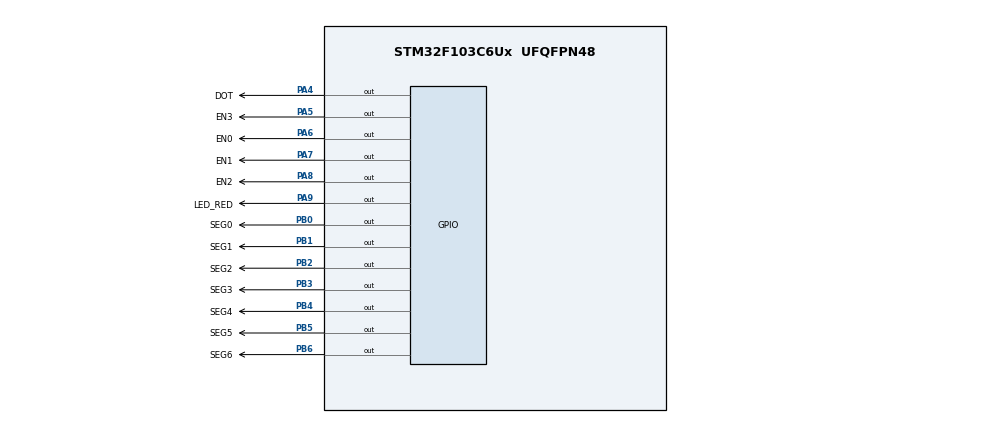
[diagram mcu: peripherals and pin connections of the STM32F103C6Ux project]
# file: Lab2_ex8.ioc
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Mcu.Family=STM32F1
Mcu.Name=STM32F103C6Ux
Mcu.Package=UFQFPN48
NVIC.PriorityGroup=NVIC_PRIORITYGROUP_4
NVIC.TIM2_IRQn=true\:0\:0\:false\:false\:true\:true\:true
PA4.GPIO_Label=DOT
PA4.Signal=GPIO_Output
PA5.GPIO_Label=EN3
PA5.Signal=GPIO_Output
PA6.GPIO_Label=EN0
PA6.Signal=GPIO_Output
PA7.GPIO_Label=EN1
PA7.Signal=GPIO_Output
PA8.GPIO_Label=EN2
PA8.Signal=GPIO_Output
PA9.GPIO_Label=LED_RED
PA9.Signal=GPIO_Output
PB0.GPIO_Label=SEG0
PB0.Signal=GPIO_Output
PB1.GPIO_Label=SEG1
PB1.Signal=GPIO_Output
PB2.GPIO_Label=SEG2
PB2.Signal=GPIO_Output
PB3.GPIO_Label=SEG3
PB3.Signal=GPIO_Output
PB4.GPIO_Label=SEG4
PB4.Signal=GPIO_Output
PB5.GPIO_Label=SEG5
PB5.Signal=GPIO_Output
PB6.GPIO_Label=SEG6
PB6.Signal=GPIO_Output
ProjectManager.HeapSize=0x200
ProjectManager.StackSize=0x400
ProjectManager.TargetToolchain=STM32CubeIDE
RCC.APB1Freq_Value=8000000
RCC.APB2Freq_Value=8000000
TIM2.Period=9
TIM2.Prescaler=7999
VP_SYS_VS_ND.Mode=No_Debug
VP_TIM2_VS_ClockSourceINT.Mode=Internal
board=custom

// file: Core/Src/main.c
/* USER CODE BEGIN Header */
/**
  ******************************************************************************
  * @file           : main.c
  * @brief          : Main program body
  ******************************************************************************
  * @attention
  *
  * <h2><center>&copy; Copyright (c) 2023 STMicroelectronics.
  * All rights reserved.</center></h2>
  *
  * This software component is licensed by ST under BSD 3-Clause license,
  * the "License"; You may not use this file except in compliance with the
  * License. You may obtain a copy of the License at:
  *                        opensource.org/licenses/BSD-3-Clause
  *
  ******************************************************************************
  */
/* USER CODE END Header */
#include "main.h"

TIM_HandleTypeDef htim2;

void SystemClock_Config(void);
static void MX_GPIO_Init(void);
static void MX_TIM2_Init(void);

/* USER CODE BEGIN 0 */
enum LED_ENABLE_STATE {
	LED_0_EN = 0,
	LED_1_EN = 1,
	LED_2_EN = 2,
	LED_3_EN = 3
};
enum LED_ENABLE_STATE curLedState = LED_0_EN;
void display7SEG(int num) {
	switch(num) {
		case 0:
			HAL_GPIO_WritePin(SEG0_GPIO_Port, SEG0_Pin, 0);
			HAL_GPIO_WritePin(SEG1_GPIO_Port, SEG1_Pin, 0);
			HAL_GPIO_WritePin(SEG2_GPIO_Port, SEG2_Pin, 0);
			HAL_GPIO_WritePin(SEG3_GPIO_Port, SEG3_Pin, 0);
			HAL_GPIO_WritePin(SEG4_GPIO_Port, SEG4_Pin, 0);
			HAL_GPIO_WritePin(SEG5_GPIO_Port, SEG5_Pin, 0);
			HAL_GPIO_WritePin(SEG6_GPIO_Port, SEG6_Pin, 1);
			break;
		case 1:
			HAL_GPIO_WritePin(SEG0_GPIO_Port, SEG0_Pin, 1);
			HAL_GPIO_WritePin(SEG1_GPIO_Port, SEG1_Pin, 0);
			HAL_GPIO_WritePin(SEG2_GPIO_Port, SEG2_Pin, 0);
			HAL_GPIO_WritePin(SEG3_GPIO_Port, SEG3_Pin, 1);
			HAL_GPIO_WritePin(SEG4_GPIO_Port, SEG4_Pin, 1);
			HAL_GPIO_WritePin(SEG5_GPIO_Port, SEG5_Pin, 1);
			HAL_GPIO_WritePin(SEG6_GPIO_Port, SEG6_Pin, 1);
			break;
		case 2:
			HAL_GPIO_WritePin(SEG0_GPIO_Port, SEG0_Pin, 0);
			HAL_GPIO_WritePin(SEG1_GPIO_Port, SEG1_Pin, 0);
			HAL_GPIO_WritePin(SEG2_GPIO_Port, SEG2_Pin, 1);
			HAL_GPIO_WritePin(SEG3_GPIO_Port, SEG3_Pin, 0);
			HAL_GPIO_WritePin(SEG4_GPIO_Port, SEG4_Pin, 0);
			HAL_GPIO_WritePin(SEG5_GPIO_Port, SEG5_Pin, 1);
			HAL_GPIO_WritePin(SEG6_GPIO_Port, SEG6_Pin, 0);
			break;
		case 3:
			HAL_GPIO_WritePin(SEG0_GPIO_Port, SEG0_Pin, 0);
			HAL_GPIO_WritePin(SEG1_GPIO_Port, SEG1_Pin, 0);
			HAL_GPIO_WritePin(SEG2_GPIO_Port, SEG2_Pin, 0);
			HAL_GPIO_WritePin(SEG3_GPIO_Port, SEG3_Pin, 0);
			HAL_GPIO_WritePin(SEG4_GPIO_Port, SEG4_Pin, 1);
			HAL_GPIO_WritePin(SEG5_GPIO_Port, SEG5_Pin, 1);
			HAL_GPIO_WritePin(SEG6_GPIO_Port, SEG6_Pin, 0);
			break;
		case 4:
			HAL_GPIO_WritePin(SEG0_GPIO_Port, SEG0_Pin, 1);
			HAL_GPIO_WritePin(SEG1_GPIO_Port, SEG1_Pin, 0);
			HAL_GPIO_WritePin(SEG2_GPIO_Port, SEG2_Pin, 0);
			HAL_GPIO_WritePin(SEG3_GPIO_Port, SEG3_Pin, 1);
			HAL_GPIO_WritePin(SEG4_GPIO_Port, SEG4_Pin, 1);
			HAL_GPIO_WritePin(SEG5_GPIO_Port, SEG5_Pin, 0);
			HAL_GPIO_WritePin(SEG6_GPIO_Port, SEG6_Pin, 0);
			break;
		case 5:
			HAL_GPIO_WritePin(SEG0_GPIO_Port, SEG0_Pin, 0);
			HAL_GPIO_WritePin(SEG1_GPIO_Port, SEG1_Pin, 1);
			HAL_GPIO_WritePin(SEG2_GPIO_Port, SEG2_Pin, 0);
			HAL_GPIO_WritePin(SEG3_GPIO_Port, SEG3_Pin, 0);
			HAL_GPIO_WritePin(SEG4_GPIO_Port, SEG4_Pin, 1);
			HAL_GPIO_WritePin(SEG5_GPIO_Port, SEG5_Pin, 0);
			HAL_GPIO_WritePin(SEG6_GPIO_Port, SEG6_Pin, 0);
			break;
		case 6:
			HAL_GPIO_WritePin(SEG0_GPIO_Port, SEG0_Pin, 0);
			HAL_GPIO_WritePin(SEG1_GPIO_Port, SEG1_Pin, 1);
			HAL_GPIO_WritePin(SEG2_GPIO_Port, SEG2_Pin, 0);
			HAL_GPIO_WritePin(SEG3_GPIO_Port, SEG3_Pin, 0);
			HAL_GPIO_WritePin(SEG4_GPIO_Port, SEG4_Pin, 0);
			HAL_GPIO_WritePin(SEG5_GPIO_Port, SEG5_Pin, 0);
			HAL_GPIO_WritePin(SEG6_GPIO_Port, SEG6_Pin, 0);
			break;
		case 7:
			HAL_GPIO_WritePin(SEG0_GPIO_Port, SEG0_Pin, 0);
			HAL_GPIO_WritePin(SEG1_GPIO_Port, SEG1_Pin, 0);
			HAL_GPIO_WritePin(SEG2_GPIO_Port, SEG2_Pin, 0);
			HAL_GPIO_WritePin(SEG3_GPIO_Port, SEG3_Pin, 1);
			HAL_GPIO_WritePin(SEG4_GPIO_Port, SEG4_Pin, 1);
			HAL_GPIO_WritePin(SEG5_GPIO_Port, SEG5_Pin, 1);
			HAL_GPIO_WritePin(SEG6_GPIO_Port, SEG6_Pin, 1);
			break;
		case 8:
			HAL_GPIO_WritePin(SEG0_GPIO_Port, SEG0_Pin, 0);
			HAL_GPIO_WritePin(SEG1_GPIO_Port, SEG1_Pin, 0);
			HAL_GPIO_WritePin(SEG2_GPIO_Port, SEG2_Pin, 0);
			HAL_GPIO_WritePin(SEG3_GPIO_Port, SEG3_Pin, 0);
			HAL_GPIO_WritePin(SEG4_GPIO_Port, SEG4_Pin, 0);
			HAL_GPIO_WritePin(SEG5_GPIO_Port, SEG5_Pin, 0);
			HAL_GPIO_WritePin(SEG6_GPIO_Port, SEG6_Pin, 0);
			break;
		case 9:
			HAL_GPIO_WritePin(SEG0_GPIO_Port, SEG0_Pin, 0);
			HAL_GPIO_WritePin(SEG1_GPIO_Port, SEG1_Pin, 0);
			HAL_GPIO_WritePin(SEG2_GPIO_Port, SEG2_Pin, 0);
			HAL_GPIO_WritePin(SEG3_GPIO_Port, SEG3_Pin, 0);
			HAL_GPIO_WritePin(SEG4_GPIO_Port, SEG4_Pin, 1);
			HAL_GPIO_WritePin(SEG5_GPIO_Port, SEG5_Pin, 0);
			HAL_GPIO_WritePin(SEG6_GPIO_Port, SEG6_Pin, 0);
			break;
		default:
			HAL_GPIO_WritePin(SEG0_GPIO_Port, SEG0_Pin, 0);
			HAL_GPIO_WritePin(SEG1_GPIO_Port, SEG1_Pin, 0);
			HAL_GPIO_WritePin(SEG2_GPIO_Port, SEG2_Pin, 0);
			HAL_GPIO_WritePin(SEG3_GPIO_Port, SEG3_Pin, 0);
			HAL_GPIO_WritePin(SEG4_GPIO_Port, SEG4_Pin, 0);
			HAL_GPIO_WritePin(SEG5_GPIO_Port, SEG5_Pin, 0);
			HAL_GPIO_WritePin(SEG6_GPIO_Port, SEG6_Pin, 0);
			break;

	}
}
const int MAX_LED = 4;
int index_led = 0;
int led_buffer[4] = {1, 5, 0, 8};
void update7SEG(int index){
    switch (index){
		  case 0:
			  HAL_GPIO_WritePin(EN3_GPIO_Port, EN3_Pin, 1);
			  display7SEG(led_buffer[0]);
			  HAL_GPIO_WritePin(EN0_GPIO_Port, EN0_Pin, 0);
			  HAL_GPIO_WritePin(EN1_GPIO_Port, EN1_Pin, 1);
			  HAL_GPIO_WritePin(EN2_GPIO_Port, EN2_Pin, 1);
			  break;
		  case 1:
	  		  HAL_GPIO_WritePin(EN0_GPIO_Port, EN0_Pin, 1);
	  		  display7SEG(led_buffer[1]);
	  		  HAL_GPIO_WritePin(EN1_GPIO_Port, EN1_Pin, 0);
	  		  HAL_GPIO_WritePin(EN2_GPIO_Port, EN2_Pin, 1);
	  		  HAL_GPIO_WritePin(EN3_GPIO_Port, EN3_Pin, 1);
	  		  break;
	  	  case 2:
	  		  HAL_GPIO_WritePin(EN0_GPIO_Port, EN0_Pin, 1);
	  		  HAL_GPIO_WritePin(EN1_GPIO_Port, EN1_Pin, 1);
	  		  display7SEG(led_buffer[2]);
	  		  HAL_GPIO_WritePin(EN2_GPIO_Port, EN2_Pin, 0);
	  		  HAL_GPIO_WritePin(EN3_GPIO_Port, EN3_Pin, 1);
	  		  break;
	  	  case 3:
	  		  HAL_GPIO_WritePin(EN0_GPIO_Port, EN0_Pin, 1);
			  HAL_GPIO_WritePin(EN1_GPIO_Port, EN1_Pin, 1);
			  HAL_GPIO_WritePin(EN2_GPIO_Port, EN2_Pin, 1);
	  		  display7SEG(led_buffer[3]);
	  		  HAL_GPIO_WritePin(EN3_GPIO_Port, EN3_Pin, 0);
	  		  break;
        default:
            break;
    }
}
int hour = 15, minute = 8, second = 50;
int sencond_flag = 0;
int swap_led_flag = 0;
void updateClockBuffer() {
	int hour_decode_1 = hour / 10;
	int hour_decode_2 = hour % 10;
	int minute_decode_1 = minute / 10;
	int minute_decode_2 = minute % 10;
	led_buffer[0] = hour_decode_1;
	led_buffer[1] = hour_decode_2;
	led_buffer[2] = minute_decode_1;
	led_buffer[3] = minute_decode_2;
}
/* USER CODE END 0 */

int main(void)
{

  /* MCU Configuration--------------------------------------------------------*/

  /* Reset of all peripherals, Initializes the Flash interface and the Systick. */
  HAL_Init();

  /* Configure the system clock */
  SystemClock_Config();

  /* Initialize all configured peripherals */
  MX_GPIO_Init();
  MX_TIM2_Init();
  /* USER CODE BEGIN 2 */
  HAL_TIM_Base_Start_IT(&htim2);
  /* USER CODE END 2 */

  /* Infinite loop */
  while (1)
  {
	if (sencond_flag) {
		second++;
		sencond_flag = 0;
	    if (second >= 60){
	        second = 0;
	        minute++;
	    }
	    if(minute >= 60){
	        minute = 0;
	        hour++;
	    }
	    if(hour >=24){
	        hour = 0;
	    }
	    updateClockBuffer();
		HAL_GPIO_TogglePin(DOT_GPIO_Port, DOT_Pin);
	}
	if(swap_led_flag) {
		index_led = (index_led == MAX_LED - 1) ? 0 : index_led + 1;
		swap_led_flag = 0;
	}
    update7SEG(index_led);
  }
}

void SystemClock_Config(void)
{
  RCC_OscInitTypeDef RCC_OscInitStruct = {0};
  RCC_ClkInitTypeDef RCC_ClkInitStruct = {0};

  /** Initializes the RCC Oscillators according to the specified parameters
  * in the RCC_OscInitTypeDef structure.
  */
  RCC_OscInitStruct.OscillatorType = RCC_OSCILLATORTYPE_HSI;
  RCC_OscInitStruct.HSIState = RCC_HSI_ON;
  RCC_OscInitStruct.HSICalibrationValue = RCC_HSICALIBRATION_DEFAULT;
  RCC_OscInitStruct.PLL.PLLState = RCC_PLL_NONE;
  if (HAL_RCC_OscConfig(&RCC_OscInitStruct) != HAL_OK)
  {
    Error_Handler();
  }
  /** Initializes the CPU, AHB and APB buses clocks
  */
  RCC_ClkInitStruct.ClockType = RCC_CLOCKTYPE_HCLK|RCC_CLOCKTYPE_SYSCLK
                              |RCC_CLOCKTYPE_PCLK1|RCC_CLOCKTYPE_PCLK2;
  RCC_ClkInitStruct.SYSCLKSource = RCC_SYSCLKSOURCE_HSI;
  RCC_ClkInitStruct.AHBCLKDivider = RCC_SYSCLK_DIV1;
  RCC_ClkInitStruct.APB1CLKDivider = RCC_HCLK_DIV1;
  RCC_ClkInitStruct.APB2CLKDivider = RCC_HCLK_DIV1;

  if (HAL_RCC_ClockConfig(&RCC_ClkInitStruct, FLASH_LATENCY_0) != HAL_OK)
  {
    Error_Handler();
  }
}

static void MX_TIM2_Init(void)
{

  TIM_ClockConfigTypeDef sClockSourceConfig = {0};
  TIM_MasterConfigTypeDef sMasterConfig = {0};

  htim2.Instance = TIM2;
  htim2.Init.Prescaler = 7999;
  htim2.Init.CounterMode = TIM_COUNTERMODE_UP;
  htim2.Init.Period = 9;
  htim2.Init.ClockDivision = TIM_CLOCKDIVISION_DIV1;
  htim2.Init.AutoReloadPreload = TIM_AUTORELOAD_PRELOAD_DISABLE;
  if (HAL_TIM_Base_Init(&htim2) != HAL_OK)
  {
    Error_Handler();
  }
  sClockSourceConfig.ClockSource = TIM_CLOCKSOURCE_INTERNAL;
  if (HAL_TIM_ConfigClockSource(&htim2, &sClockSourceConfig) != HAL_OK)
  {
    Error_Handler();
  }
  sMasterConfig.MasterOutputTrigger = TIM_TRGO_RESET;
  sMasterConfig.MasterSlaveMode = TIM_MASTERSLAVEMODE_DISABLE;
  if (HAL_TIMEx_MasterConfigSynchronization(&htim2, &sMasterConfig) != HAL_OK)
  {
    Error_Handler();
  }

}

static void MX_GPIO_Init(void)
{
  GPIO_InitTypeDef GPIO_InitStruct = {0};

  /* GPIO Ports Clock Enable */
  __HAL_RCC_GPIOA_CLK_ENABLE();
  __HAL_RCC_GPIOB_CLK_ENABLE();

  /*Configure GPIO pin Output Level */
  HAL_GPIO_WritePin(GPIOA, DOT_Pin|LED_RED_Pin|EN0_Pin|EN1_Pin
                          |EN2_Pin|EN3_Pin, GPIO_PIN_RESET);

  /*Configure GPIO pin Output Level */
  HAL_GPIO_WritePin(GPIOB, SEG0_Pin|SEG1_Pin|SEG2_Pin|SEG3_Pin
                          |SEG4_Pin|SEG5_Pin|SEG6_Pin, GPIO_PIN_RESET);

  /*Configure GPIO pins : DOT_Pin LED_RED_Pin EN0_Pin EN1_Pin
                           EN2_Pin EN3_Pin */
  GPIO_InitStruct.Pin = DOT_Pin|LED_RED_Pin|EN0_Pin|EN1_Pin
                          |EN2_Pin|EN3_Pin;
  GPIO_InitStruct.Mode = GPIO_MODE_OUTPUT_PP;
  GPIO_InitStruct.Pull = GPIO_NOPULL;
  GPIO_InitStruct.Speed = GPIO_SPEED_FREQ_LOW;
  HAL_GPIO_Init(GPIOA, &GPIO_InitStruct);

  /*Configure GPIO pins : SEG0_Pin SEG1_Pin SEG2_Pin SEG3_Pin
                           SEG4_Pin SEG5_Pin SEG6_Pin */
  GPIO_InitStruct.Pin = SEG0_Pin|SEG1_Pin|SEG2_Pin|SEG3_Pin
                          |SEG4_Pin|SEG5_Pin|SEG6_Pin;
  GPIO_InitStruct.Mode = GPIO_MODE_OUTPUT_PP;
  GPIO_InitStruct.Pull = GPIO_NOPULL;
  GPIO_InitStruct.Speed = GPIO_SPEED_FREQ_LOW;
  HAL_GPIO_Init(GPIOB, &GPIO_InitStruct);

}

/* USER CODE BEGIN 4 */
int swap_led_counter = 50;
int second_counter = 100;
void HAL_TIM_PeriodElapsedCallback(TIM_HandleTypeDef *htim){
	swap_led_counter--;
	second_counter--;
	if(swap_led_counter <= 0) {
		swap_led_counter = 50;
		swap_led_flag = 1;
	}
	if(second_counter <= 0) {
		second_counter = 100;
		sencond_flag = 1;
	}
}
/* USER CODE END 4 */

void Error_Handler(void)
{
  __disable_irq();
  while (1)
  {
  }
}

/************************ (C) COPYRIGHT STMicroelectronics *****END OF FILE****/
